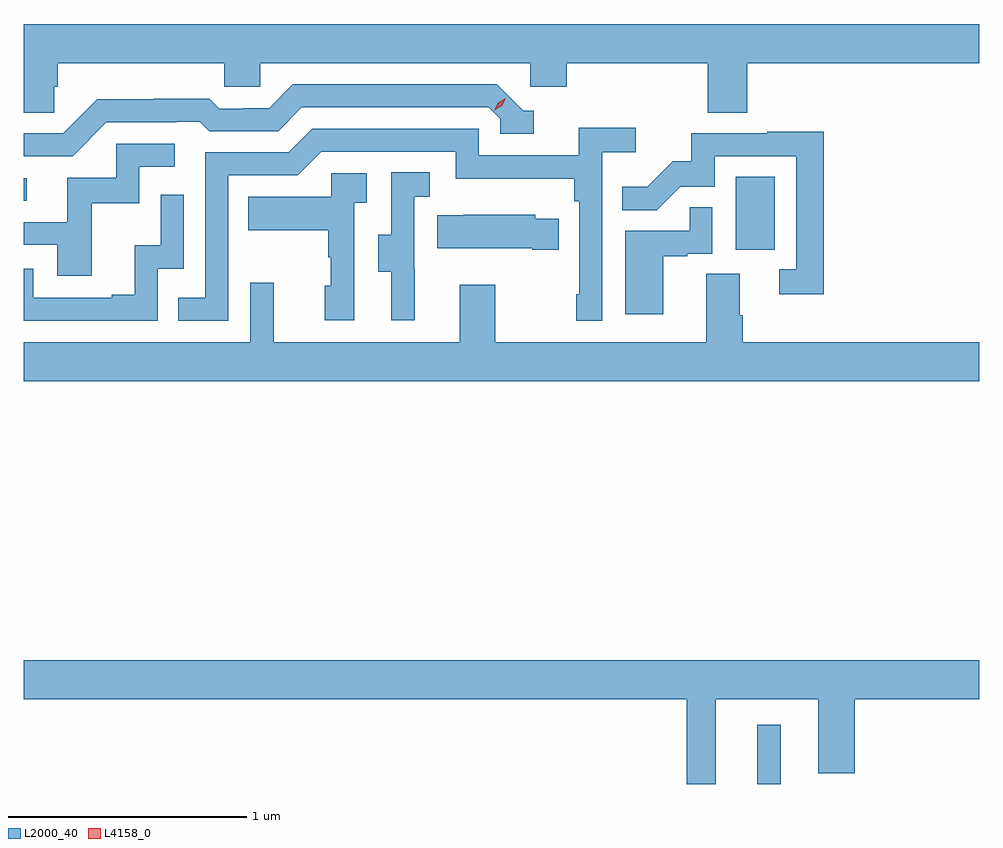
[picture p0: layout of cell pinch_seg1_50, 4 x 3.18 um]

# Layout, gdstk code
import gdstk
lib = gdstk.Library(unit=1e-6, precision=1e-09)
def R(c, l, rs):  # rectangles x0, y0, x1, y1
    for r in rs: c.add(gdstk.rectangle(r[:2], r[2:], *l))
def P(c, l, *ps):  # polygons
    for p in ps: c.add(gdstk.Polygon(p, *l))
L2000_40 = (2000, 40)
L4158_0 = (4158, 0)

pinch_seg1_50 = lib.new_cell('pinch_seg1_50')
R(pinch_seg1_50, L2000_40, [(1058.558,575.354,1058.656,575.602), (1058.468,577.59,1058.632,577.897), (1055.487,577.797,1055.5,577.89)])
P(pinch_seg1_50, L2000_40, [(1055.615,578.274),(1055.63,578.274),(1055.63,578.372),(1056.327,578.372),(1056.327,578.274),(1056.477,578.274),(1056.477,578.372),(1057.608,578.372),(1057.608,578.274),(1057.76,578.274),(1057.76,578.372),(1058.351,578.372),(1058.351,578.164),(1058.516,578.164),(1058.516,578.372),(1059.487,578.372),(1059.487,578.536),(1055.487,578.536),(1055.487,578.164),(1055.615,578.164)],
  [(1055.832,578.124),(1056.125,578.124),(1056.125,578.127),(1056.224,578.127),(1056.263,578.088),(1056.552,578.088),(1056.651,578.187),(1057.434,578.187),(1057.482,578.139),(1057.482,578.076),(1057.621,578.076),(1057.621,578.172),(1057.578,578.172),(1057.467,578.283),(1056.614,578.283),(1056.515,578.184),(1056.408,578.184),(1056.408,578.181),(1056.305,578.181),(1056.263,578.224),(1056.03,578.224),(1056.03,578.221),(1055.794,578.221),(1055.652,578.079),(1055.487,578.079),(1055.487,577.983),(1055.691,577.983)],
  [(1056.342,577.902),(1056.633,577.902),(1056.732,578.001),(1057.296,578.001),(1057.296,577.889),(1057.792,577.889),(1057.792,577.793),(1057.812,577.793),(1057.812,577.405),(1057.8,577.405),(1057.8,577.293),(1057.908,577.293),(1057.908,578),(1058.05,578),(1058.05,578.102),(1057.811,578.102),(1057.811,577.986),(1057.392,577.986),(1057.392,578.097),(1056.695,578.097),(1056.596,577.998),(1056.246,577.998),(1056.246,577.389),(1056.133,577.389),(1056.133,577.293),(1056.342,577.293)],
  [(1058.837,578.084),(1058.599,578.084),(1058.599,578.079),(1058.281,578.079),(1058.281,577.962),(1058.204,577.962),(1058.097,577.855),(1057.993,577.855),(1057.993,577.756),(1058.137,577.756),(1058.235,577.854),(1058.379,577.854),(1058.379,577.983),(1058.721,577.983),(1058.721,577.509),(1058.649,577.509),(1058.649,577.404),(1058.837,577.404)],
  [(1055.771,577.785),(1055.97,577.785),(1055.97,577.938),(1056.118,577.938),(1056.118,578.034),(1055.874,578.034),(1055.874,577.893),(1055.669,577.893),(1055.669,577.707),(1055.487,577.707),(1055.487,577.611),(1055.627,577.611),(1055.627,577.482),(1055.771,577.482)],
  [(1057.124,577.509),(1057.122,577.509),(1057.122,577.813),(1057.186,577.813),(1057.186,577.916),(1057.026,577.916),(1057.026,577.653),(1056.971,577.653),(1056.971,577.498),(1057.025,577.498),(1057.025,577.296),(1057.124,577.296)],
  [(1056.87,577.787),(1056.922,577.787),(1056.922,577.911),(1056.774,577.911),(1056.774,577.813),(1056.427,577.813),(1056.427,577.673),(1056.762,577.673),(1056.762,577.559),(1056.772,577.559),(1056.772,577.44),(1056.746,577.44),(1056.746,577.296),(1056.87,577.296)],
  [(1056.048,577.512),(1056.156,577.512),(1056.156,577.822),(1056.06,577.822),(1056.06,577.61),(1055.951,577.61),(1055.951,577.402),(1055.855,577.402),(1055.855,577.389),(1055.526,577.389),(1055.526,577.512),(1055.487,577.512),(1055.487,577.293),(1056.048,577.293)],
  [(1058.164,577.563),(1058.264,577.563),(1058.264,577.575),(1058.37,577.575),(1058.37,577.769),(1058.275,577.769),(1058.275,577.671),(1058.006,577.671),(1058.006,577.32),(1058.164,577.32)],
  [(1057.727,577.72),(1057.629,577.72),(1057.629,577.738),(1057.327,577.738),(1057.327,577.735),(1057.219,577.735),(1057.219,577.598),(1057.616,577.598),(1057.616,577.591),(1057.727,577.591)],
  [(1059.487,577.204),(1058.498,577.204),(1058.498,577.316),(1058.485,577.316),(1058.485,577.49),(1058.345,577.49),(1058.345,577.204),(1057.461,577.204),(1057.461,577.444),(1057.313,577.444),(1057.313,577.204),(1056.533,577.204),(1056.533,577.453),(1056.435,577.453),(1056.435,577.204),(1055.487,577.204),(1055.487,577.04),(1059.487,577.04)],
  [(1058.383,575.708),(1058.813,575.708),(1058.813,575.399),(1058.966,575.399),(1058.966,575.708),(1059.487,575.708),(1059.487,575.872),(1055.487,575.872),(1055.487,575.708),(1058.262,575.708),(1058.262,575.354),(1058.383,575.354)])
P(pinch_seg1_50, L4158_0, [(1057.457,578.174),(1057.457,578.174),(1057.473,578.207),(1057.504,578.226),(1057.504,578.226),(1057.504,578.226),(1057.488,578.193),(1057.457,578.174)])

lib.write_gds('pinch_seg1_50.gds')
